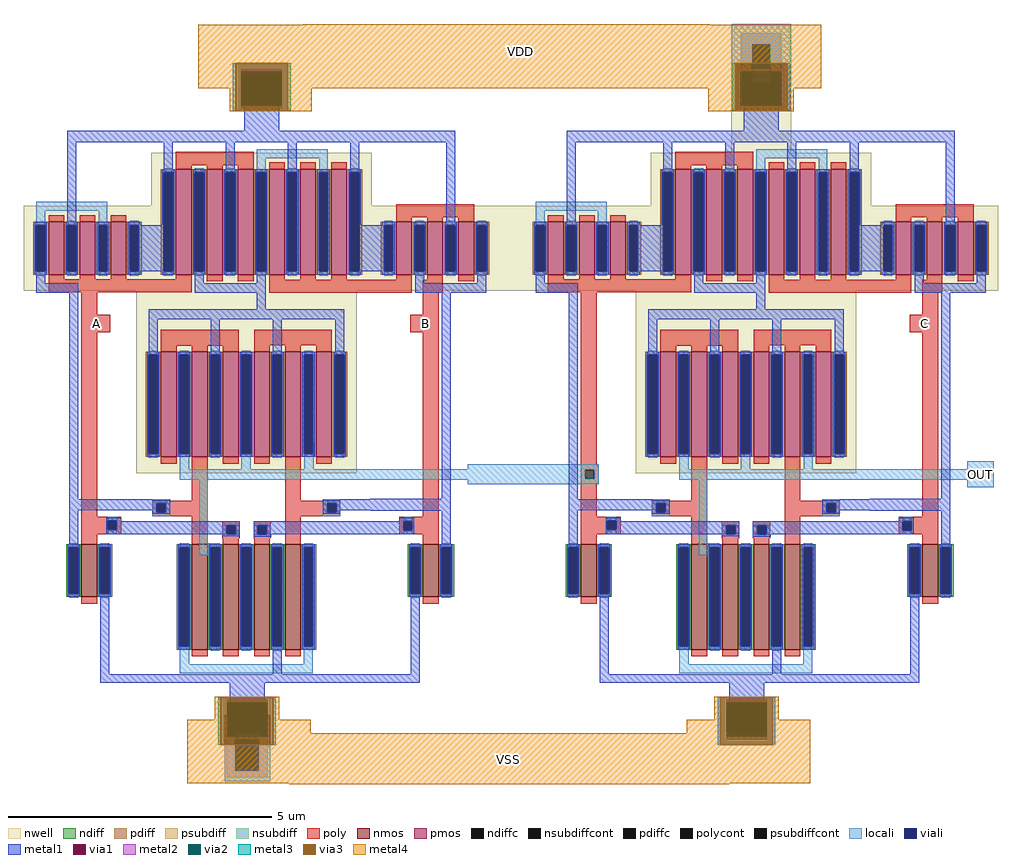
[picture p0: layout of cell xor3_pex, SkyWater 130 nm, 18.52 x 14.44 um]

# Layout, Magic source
magic
tech sky130B
magscale 1 2
<< nwell >>
rect 2563 677 2791 1167
rect 359 477 1197 677
rect 2257 477 3095 677
rect -125 153 3578 477
rect 302 -540 1140 153
rect 2200 -540 3038 153
<< nmos >>
rect 94 -1010 154 -810
rect 514 -1210 574 -810
rect 632 -1210 692 -810
rect 750 -1210 810 -810
rect 868 -1210 928 -810
rect 1392 -1010 1452 -810
rect 1992 -1010 2052 -810
rect 2412 -1210 2472 -810
rect 2530 -1210 2590 -810
rect 2648 -1210 2708 -810
rect 2766 -1210 2826 -810
rect 3290 -1010 3350 -810
<< pmos >>
rect -31 215 29 415
rect 87 215 147 415
rect 205 215 265 415
rect 453 215 513 615
rect 571 215 631 615
rect 689 215 749 615
rect 807 215 867 615
rect 925 215 985 615
rect 1043 215 1103 615
rect 1290 215 1350 415
rect 1408 215 1468 415
rect 1526 215 1586 415
rect 1867 215 1927 415
rect 1985 215 2045 415
rect 2103 215 2163 415
rect 2351 215 2411 615
rect 2469 215 2529 615
rect 2587 215 2647 615
rect 2705 215 2765 615
rect 2823 215 2883 615
rect 2941 215 3001 615
rect 3188 215 3248 415
rect 3306 215 3366 415
rect 3424 215 3484 415
rect 396 -478 456 -78
rect 514 -478 574 -78
rect 632 -478 692 -78
rect 750 -478 810 -78
rect 868 -478 928 -78
rect 986 -478 1046 -78
rect 2294 -478 2354 -78
rect 2412 -478 2472 -78
rect 2530 -478 2590 -78
rect 2648 -478 2708 -78
rect 2766 -478 2826 -78
rect 2884 -478 2944 -78
<< ndiff >>
rect 36 -822 94 -810
rect 36 -998 48 -822
rect 82 -998 94 -822
rect 36 -1010 94 -998
rect 154 -822 212 -810
rect 154 -998 166 -822
rect 200 -998 212 -822
rect 154 -1010 212 -998
rect 456 -822 514 -810
rect 456 -1198 468 -822
rect 502 -1198 514 -822
rect 456 -1210 514 -1198
rect 574 -822 632 -810
rect 574 -1198 586 -822
rect 620 -1198 632 -822
rect 574 -1210 632 -1198
rect 692 -822 750 -810
rect 692 -1198 704 -822
rect 738 -1198 750 -822
rect 692 -1210 750 -1198
rect 810 -822 868 -810
rect 810 -1198 822 -822
rect 856 -1198 868 -822
rect 810 -1210 868 -1198
rect 928 -822 986 -810
rect 928 -1198 940 -822
rect 974 -1198 986 -822
rect 1334 -822 1392 -810
rect 1334 -998 1346 -822
rect 1380 -998 1392 -822
rect 1334 -1010 1392 -998
rect 1452 -822 1510 -810
rect 1452 -998 1464 -822
rect 1498 -998 1510 -822
rect 1452 -1010 1510 -998
rect 1934 -822 1992 -810
rect 1934 -998 1946 -822
rect 1980 -998 1992 -822
rect 1934 -1010 1992 -998
rect 2052 -822 2110 -810
rect 2052 -998 2064 -822
rect 2098 -998 2110 -822
rect 2052 -1010 2110 -998
rect 2354 -822 2412 -810
rect 928 -1210 986 -1198
rect 2354 -1198 2366 -822
rect 2400 -1198 2412 -822
rect 2354 -1210 2412 -1198
rect 2472 -822 2530 -810
rect 2472 -1198 2484 -822
rect 2518 -1198 2530 -822
rect 2472 -1210 2530 -1198
rect 2590 -822 2648 -810
rect 2590 -1198 2602 -822
rect 2636 -1198 2648 -822
rect 2590 -1210 2648 -1198
rect 2708 -822 2766 -810
rect 2708 -1198 2720 -822
rect 2754 -1198 2766 -822
rect 2708 -1210 2766 -1198
rect 2826 -822 2884 -810
rect 2826 -1198 2838 -822
rect 2872 -1198 2884 -822
rect 3232 -822 3290 -810
rect 3232 -998 3244 -822
rect 3278 -998 3290 -822
rect 3232 -1010 3290 -998
rect 3350 -822 3408 -810
rect 3350 -998 3362 -822
rect 3396 -998 3408 -822
rect 3350 -1010 3408 -998
rect 2826 -1210 2884 -1198
<< pdiff >>
rect 395 603 453 615
rect -89 403 -31 415
rect -89 227 -77 403
rect -43 227 -31 403
rect -89 215 -31 227
rect 29 403 87 415
rect 29 227 41 403
rect 75 227 87 403
rect 29 215 87 227
rect 147 403 205 415
rect 147 227 159 403
rect 193 227 205 403
rect 147 215 205 227
rect 265 403 323 415
rect 265 227 277 403
rect 311 227 323 403
rect 265 215 323 227
rect 395 227 407 603
rect 441 227 453 603
rect 395 215 453 227
rect 513 603 571 615
rect 513 227 525 603
rect 559 227 571 603
rect 513 215 571 227
rect 631 603 689 615
rect 631 227 643 603
rect 677 227 689 603
rect 631 215 689 227
rect 749 603 807 615
rect 749 227 761 603
rect 795 227 807 603
rect 749 215 807 227
rect 867 603 925 615
rect 867 227 879 603
rect 913 227 925 603
rect 867 215 925 227
rect 985 603 1043 615
rect 985 227 997 603
rect 1031 227 1043 603
rect 985 215 1043 227
rect 1103 603 1161 615
rect 1103 227 1115 603
rect 1149 227 1161 603
rect 2293 603 2351 615
rect 1103 215 1161 227
rect 1232 403 1290 415
rect 1232 227 1244 403
rect 1278 227 1290 403
rect 1232 215 1290 227
rect 1350 403 1408 415
rect 1350 227 1362 403
rect 1396 227 1408 403
rect 1350 215 1408 227
rect 1468 403 1526 415
rect 1468 227 1480 403
rect 1514 227 1526 403
rect 1468 215 1526 227
rect 1586 403 1644 415
rect 1586 227 1598 403
rect 1632 227 1644 403
rect 1586 215 1644 227
rect 1809 403 1867 415
rect 1809 227 1821 403
rect 1855 227 1867 403
rect 1809 215 1867 227
rect 1927 403 1985 415
rect 1927 227 1939 403
rect 1973 227 1985 403
rect 1927 215 1985 227
rect 2045 403 2103 415
rect 2045 227 2057 403
rect 2091 227 2103 403
rect 2045 215 2103 227
rect 2163 403 2221 415
rect 2163 227 2175 403
rect 2209 227 2221 403
rect 2163 215 2221 227
rect 2293 227 2305 603
rect 2339 227 2351 603
rect 2293 215 2351 227
rect 2411 603 2469 615
rect 2411 227 2423 603
rect 2457 227 2469 603
rect 2411 215 2469 227
rect 2529 603 2587 615
rect 2529 227 2541 603
rect 2575 227 2587 603
rect 2529 215 2587 227
rect 2647 603 2705 615
rect 2647 227 2659 603
rect 2693 227 2705 603
rect 2647 215 2705 227
rect 2765 603 2823 615
rect 2765 227 2777 603
rect 2811 227 2823 603
rect 2765 215 2823 227
rect 2883 603 2941 615
rect 2883 227 2895 603
rect 2929 227 2941 603
rect 2883 215 2941 227
rect 3001 603 3059 615
rect 3001 227 3013 603
rect 3047 227 3059 603
rect 3001 215 3059 227
rect 3130 403 3188 415
rect 3130 227 3142 403
rect 3176 227 3188 403
rect 3130 215 3188 227
rect 3248 403 3306 415
rect 3248 227 3260 403
rect 3294 227 3306 403
rect 3248 215 3306 227
rect 3366 403 3424 415
rect 3366 227 3378 403
rect 3412 227 3424 403
rect 3366 215 3424 227
rect 3484 403 3542 415
rect 3484 227 3496 403
rect 3530 227 3542 403
rect 3484 215 3542 227
rect 338 -90 396 -78
rect 338 -466 350 -90
rect 384 -466 396 -90
rect 338 -478 396 -466
rect 456 -90 514 -78
rect 456 -466 468 -90
rect 502 -466 514 -90
rect 456 -478 514 -466
rect 574 -90 632 -78
rect 574 -466 586 -90
rect 620 -466 632 -90
rect 574 -478 632 -466
rect 692 -90 750 -78
rect 692 -466 704 -90
rect 738 -466 750 -90
rect 692 -478 750 -466
rect 810 -90 868 -78
rect 810 -466 822 -90
rect 856 -466 868 -90
rect 810 -478 868 -466
rect 928 -90 986 -78
rect 928 -466 940 -90
rect 974 -466 986 -90
rect 928 -478 986 -466
rect 1046 -90 1104 -78
rect 1046 -466 1058 -90
rect 1092 -466 1104 -90
rect 1046 -478 1104 -466
rect 2236 -90 2294 -78
rect 2236 -466 2248 -90
rect 2282 -466 2294 -90
rect 2236 -478 2294 -466
rect 2354 -90 2412 -78
rect 2354 -466 2366 -90
rect 2400 -466 2412 -90
rect 2354 -478 2412 -466
rect 2472 -90 2530 -78
rect 2472 -466 2484 -90
rect 2518 -466 2530 -90
rect 2472 -478 2530 -466
rect 2590 -90 2648 -78
rect 2590 -466 2602 -90
rect 2636 -466 2648 -90
rect 2590 -478 2648 -466
rect 2708 -90 2766 -78
rect 2708 -466 2720 -90
rect 2754 -466 2766 -90
rect 2708 -478 2766 -466
rect 2826 -90 2884 -78
rect 2826 -466 2838 -90
rect 2872 -466 2884 -90
rect 2826 -478 2884 -466
rect 2944 -90 3002 -78
rect 2944 -466 2956 -90
rect 2990 -466 3002 -90
rect 2944 -478 3002 -466
<< ndiffc >>
rect 48 -998 82 -822
rect 166 -998 200 -822
rect 468 -1198 502 -822
rect 586 -1198 620 -822
rect 704 -1198 738 -822
rect 822 -1198 856 -822
rect 940 -1198 974 -822
rect 1346 -998 1380 -822
rect 1464 -998 1498 -822
rect 1946 -998 1980 -822
rect 2064 -998 2098 -822
rect 2366 -1198 2400 -822
rect 2484 -1198 2518 -822
rect 2602 -1198 2636 -822
rect 2720 -1198 2754 -822
rect 2838 -1198 2872 -822
rect 3244 -998 3278 -822
rect 3362 -998 3396 -822
<< pdiffc >>
rect -77 227 -43 403
rect 41 227 75 403
rect 159 227 193 403
rect 277 227 311 403
rect 407 227 441 603
rect 525 227 559 603
rect 643 227 677 603
rect 761 227 795 603
rect 879 227 913 603
rect 997 227 1031 603
rect 1115 227 1149 603
rect 1244 227 1278 403
rect 1362 227 1396 403
rect 1480 227 1514 403
rect 1598 227 1632 403
rect 1821 227 1855 403
rect 1939 227 1973 403
rect 2057 227 2091 403
rect 2175 227 2209 403
rect 2305 227 2339 603
rect 2423 227 2457 603
rect 2541 227 2575 603
rect 2659 227 2693 603
rect 2777 227 2811 603
rect 2895 227 2929 603
rect 3013 227 3047 603
rect 3142 227 3176 403
rect 3260 227 3294 403
rect 3378 227 3412 403
rect 3496 227 3530 403
rect 350 -466 384 -90
rect 468 -466 502 -90
rect 586 -466 620 -90
rect 704 -466 738 -90
rect 822 -466 856 -90
rect 940 -466 974 -90
rect 1058 -466 1092 -90
rect 2248 -466 2282 -90
rect 2366 -466 2400 -90
rect 2484 -466 2518 -90
rect 2602 -466 2636 -90
rect 2720 -466 2754 -90
rect 2838 -466 2872 -90
rect 2956 -466 2990 -90
<< psubdiff >>
rect 647 -1507 802 -1461
rect 647 -1670 678 -1507
rect 768 -1670 802 -1507
rect 647 -1695 802 -1670
<< nsubdiff >>
rect 2601 1091 2754 1131
rect 2601 942 2644 1091
rect 2711 942 2754 1091
rect 2601 873 2754 942
<< psubdiffcont >>
rect 678 -1670 768 -1507
<< nsubdiffcont >>
rect 2644 942 2711 1091
<< poly >>
rect 453 630 749 681
rect 453 615 513 630
rect 571 615 631 630
rect 689 615 749 630
rect 807 615 867 641
rect 925 615 985 641
rect 1043 615 1103 641
rect 2351 630 2647 681
rect 2351 615 2411 630
rect 2469 615 2529 630
rect 2587 615 2647 630
rect 2705 615 2765 641
rect 2823 615 2883 641
rect 2941 615 3001 641
rect -31 415 29 441
rect 87 415 147 441
rect 205 415 265 441
rect 1290 432 1586 483
rect 1290 415 1350 432
rect 1408 415 1468 432
rect 1526 415 1586 432
rect 1867 415 1927 441
rect 1985 415 2045 441
rect 2103 415 2163 441
rect 3188 432 3484 483
rect 3188 415 3248 432
rect 3306 415 3366 432
rect 3424 415 3484 432
rect -31 198 29 215
rect 87 198 147 215
rect 205 198 265 215
rect 453 198 513 215
rect -31 147 513 198
rect 571 189 631 215
rect 689 189 749 215
rect 807 196 867 215
rect 925 196 985 215
rect 1043 196 1103 215
rect 1290 196 1350 215
rect 1408 196 1468 215
rect 94 63 154 147
rect 807 145 1350 196
rect 1392 189 1468 196
rect 1526 189 1586 215
rect 1867 198 1927 215
rect 1985 198 2045 215
rect 2103 198 2163 215
rect 2351 198 2411 215
rect 1392 145 1467 189
rect 1867 147 2411 198
rect 2469 189 2529 215
rect 2587 189 2647 215
rect 2705 196 2765 215
rect 2823 196 2883 215
rect 2941 196 3001 215
rect 3188 196 3248 215
rect 3306 196 3366 215
rect 1392 63 1452 145
rect 94 -5 203 63
rect 94 -705 154 -5
rect 396 -55 692 5
rect 396 -78 456 -55
rect 514 -78 574 -55
rect 632 -78 692 -55
rect 750 -54 1046 6
rect 1343 -5 1452 63
rect 750 -78 810 -54
rect 868 -78 928 -54
rect 986 -78 1046 -54
rect 396 -504 456 -478
rect 364 -645 431 -638
rect 514 -645 574 -478
rect 632 -504 692 -478
rect 750 -504 810 -478
rect 364 -654 574 -645
rect 364 -688 380 -654
rect 414 -688 574 -654
rect 364 -704 574 -688
rect 94 -721 245 -705
rect 94 -755 195 -721
rect 229 -755 245 -721
rect 94 -771 245 -755
rect 94 -810 154 -771
rect 514 -810 574 -704
rect 868 -645 928 -478
rect 986 -504 1046 -478
rect 1011 -645 1078 -638
rect 868 -654 1078 -645
rect 868 -688 1028 -654
rect 1062 -688 1078 -654
rect 868 -704 1078 -688
rect 630 -738 696 -722
rect 630 -772 646 -738
rect 680 -772 696 -738
rect 630 -788 696 -772
rect 748 -737 814 -722
rect 748 -771 764 -737
rect 798 -771 814 -737
rect 748 -787 814 -771
rect 632 -810 692 -788
rect 750 -810 810 -787
rect 868 -810 928 -704
rect 1392 -706 1452 -5
rect 1302 -722 1452 -706
rect 1302 -756 1318 -722
rect 1352 -756 1452 -722
rect 1302 -772 1452 -756
rect 1392 -810 1452 -772
rect 1992 -511 2052 147
rect 2705 145 3248 196
rect 3290 189 3366 196
rect 3424 189 3484 215
rect 3290 145 3365 189
rect 3290 63 3350 145
rect 2294 -55 2590 5
rect 2294 -78 2354 -55
rect 2412 -78 2472 -55
rect 2530 -78 2590 -55
rect 2648 -54 2944 6
rect 3241 -5 3350 63
rect 2648 -78 2708 -54
rect 2766 -78 2826 -54
rect 2884 -78 2944 -54
rect 2294 -504 2354 -478
rect 1992 -527 2059 -511
rect 1992 -561 2008 -527
rect 2042 -561 2059 -527
rect 1992 -577 2059 -561
rect 1992 -705 2052 -577
rect 2262 -645 2329 -638
rect 2412 -645 2472 -478
rect 2530 -504 2590 -478
rect 2648 -504 2708 -478
rect 2262 -654 2472 -645
rect 2262 -688 2278 -654
rect 2312 -688 2472 -654
rect 2262 -704 2472 -688
rect 1992 -721 2143 -705
rect 1992 -755 2093 -721
rect 2127 -755 2143 -721
rect 1992 -771 2143 -755
rect 1992 -810 2052 -771
rect 2412 -810 2472 -704
rect 2766 -645 2826 -478
rect 2884 -504 2944 -478
rect 2909 -645 2976 -638
rect 2766 -654 2976 -645
rect 2766 -688 2926 -654
rect 2960 -688 2976 -654
rect 2766 -704 2976 -688
rect 2528 -738 2594 -722
rect 2528 -772 2544 -738
rect 2578 -772 2594 -738
rect 2528 -788 2594 -772
rect 2646 -737 2712 -722
rect 2646 -771 2662 -737
rect 2696 -771 2712 -737
rect 2646 -787 2712 -771
rect 2530 -810 2590 -788
rect 2648 -810 2708 -787
rect 2766 -810 2826 -704
rect 3290 -706 3350 -5
rect 3200 -722 3350 -706
rect 3200 -756 3216 -722
rect 3250 -756 3350 -722
rect 3200 -772 3350 -756
rect 3290 -810 3350 -772
rect 94 -1036 154 -1010
rect 1392 -1036 1452 -1010
rect 1992 -1036 2052 -1010
rect 3290 -1036 3350 -1010
rect 514 -1236 574 -1210
rect 632 -1236 692 -1210
rect 750 -1236 810 -1210
rect 868 -1236 928 -1210
rect 2412 -1236 2472 -1210
rect 2530 -1236 2590 -1210
rect 2648 -1236 2708 -1210
rect 2766 -1236 2826 -1210
<< polycont >>
rect 380 -688 414 -654
rect 195 -755 229 -721
rect 1028 -688 1062 -654
rect 646 -772 680 -738
rect 764 -771 798 -737
rect 1318 -756 1352 -722
rect 2008 -561 2042 -527
rect 2278 -688 2312 -654
rect 2093 -755 2127 -721
rect 2926 -688 2960 -654
rect 2544 -772 2578 -738
rect 2662 -771 2696 -737
rect 3216 -756 3250 -722
<< locali >>
rect 2565 1091 2790 1167
rect 2565 942 2644 1091
rect 2711 942 2790 1091
rect 2565 836 2790 942
rect 761 656 1031 691
rect 407 603 441 619
rect -77 457 193 492
rect -77 403 -43 457
rect -77 211 -43 227
rect 41 403 75 419
rect 41 211 75 227
rect 159 403 193 457
rect 159 211 193 227
rect 277 403 311 419
rect 277 211 311 227
rect 407 211 441 227
rect 525 603 559 619
rect 525 211 559 227
rect 643 603 677 619
rect 643 211 677 227
rect 761 603 795 656
rect 761 211 795 227
rect 879 603 913 619
rect 879 211 913 227
rect 997 603 1031 656
rect 2659 656 2929 691
rect 997 211 1031 227
rect 1115 603 1149 619
rect 2305 603 2339 619
rect 1821 457 2091 492
rect 1115 211 1149 227
rect 1244 403 1278 419
rect 1244 211 1278 227
rect 1362 403 1396 419
rect 1362 211 1396 227
rect 1480 403 1514 419
rect 1480 211 1514 227
rect 1598 403 1632 419
rect 1598 211 1632 227
rect 1821 403 1855 457
rect 1821 211 1855 227
rect 1939 403 1973 419
rect 1939 211 1973 227
rect 2057 403 2091 457
rect 2057 211 2091 227
rect 2175 403 2209 419
rect 2175 211 2209 227
rect 2305 211 2339 227
rect 2423 603 2457 619
rect 2423 211 2457 227
rect 2541 603 2575 619
rect 2541 211 2575 227
rect 2659 603 2693 656
rect 2659 211 2693 227
rect 2777 603 2811 619
rect 2777 211 2811 227
rect 2895 603 2929 656
rect 2895 211 2929 227
rect 3013 603 3047 619
rect 3013 211 3047 227
rect 3142 403 3176 419
rect 3142 211 3176 227
rect 3260 403 3294 419
rect 3260 211 3294 227
rect 3378 403 3412 419
rect 3378 211 3412 227
rect 3496 403 3530 419
rect 3496 211 3530 227
rect 350 -90 384 -74
rect 468 -90 502 -74
rect 350 -482 384 -466
rect 467 -466 468 -419
rect 586 -90 620 -74
rect 502 -466 503 -419
rect 467 -524 503 -466
rect 704 -90 738 -74
rect 586 -482 620 -466
rect 702 -466 704 -419
rect 702 -524 738 -466
rect 822 -90 856 -74
rect 822 -482 856 -466
rect 940 -90 974 -74
rect 1058 -90 1092 -74
rect 974 -466 976 -420
rect 940 -524 976 -466
rect 1058 -482 1092 -466
rect 2248 -90 2282 -74
rect 2366 -90 2400 -74
rect 2248 -482 2282 -466
rect 2365 -466 2366 -419
rect 2484 -90 2518 -74
rect 2400 -466 2401 -419
rect 1563 -524 2060 -506
rect 467 -527 2060 -524
rect 467 -561 2008 -527
rect 2042 -561 2060 -527
rect 467 -564 2060 -561
rect 2365 -524 2401 -466
rect 2602 -90 2636 -74
rect 2484 -482 2518 -466
rect 2600 -466 2602 -419
rect 2600 -524 2636 -466
rect 2720 -90 2754 -74
rect 2720 -482 2754 -466
rect 2838 -90 2872 -74
rect 2956 -90 2990 -74
rect 2872 -466 2874 -420
rect 2838 -524 2874 -466
rect 2956 -482 2990 -466
rect 3461 -524 3561 -494
rect 2365 -564 3561 -524
rect 486 -565 2060 -564
rect 2384 -565 3561 -564
rect 364 -654 431 -638
rect 364 -688 380 -654
rect 414 -688 431 -654
rect 364 -704 431 -688
rect 195 -721 229 -705
rect 195 -771 229 -755
rect 541 -806 575 -565
rect 1563 -582 2060 -565
rect 1011 -654 1078 -638
rect 1011 -688 1028 -654
rect 1062 -688 1078 -654
rect 1011 -704 1078 -688
rect 2262 -654 2329 -638
rect 2262 -688 2278 -654
rect 2312 -688 2329 -654
rect 2262 -704 2329 -688
rect 1318 -722 1352 -706
rect 630 -772 646 -738
rect 680 -772 696 -738
rect 748 -771 764 -737
rect 798 -771 814 -737
rect 1318 -772 1352 -756
rect 2093 -721 2127 -705
rect 2093 -771 2127 -755
rect 2439 -806 2473 -565
rect 3461 -594 3561 -565
rect 2909 -654 2976 -638
rect 2909 -688 2926 -654
rect 2960 -688 2976 -654
rect 2909 -704 2976 -688
rect 3216 -722 3250 -706
rect 2528 -772 2544 -738
rect 2578 -772 2594 -738
rect 2646 -771 2662 -737
rect 2696 -771 2712 -737
rect 3216 -772 3250 -756
rect 48 -822 82 -806
rect 48 -1014 82 -998
rect 166 -822 200 -806
rect 166 -1014 200 -998
rect 468 -822 502 -806
rect 541 -822 620 -806
rect 541 -852 586 -822
rect 468 -1265 503 -1198
rect 586 -1214 620 -1198
rect 704 -822 738 -806
rect 704 -1214 738 -1198
rect 822 -822 856 -806
rect 940 -822 974 -806
rect 1346 -822 1380 -806
rect 1346 -1014 1380 -998
rect 1464 -822 1498 -806
rect 1464 -1014 1498 -998
rect 1946 -822 1980 -806
rect 1946 -1014 1980 -998
rect 2064 -822 2098 -806
rect 2064 -1014 2098 -998
rect 2366 -822 2400 -806
rect 822 -1214 856 -1198
rect 939 -1265 974 -1198
rect 468 -1300 974 -1265
rect 2439 -822 2518 -806
rect 2439 -852 2484 -822
rect 2366 -1265 2401 -1198
rect 2484 -1214 2518 -1198
rect 2602 -822 2636 -806
rect 2602 -1214 2636 -1198
rect 2720 -822 2754 -806
rect 2838 -822 2872 -806
rect 3244 -822 3278 -806
rect 3244 -1014 3278 -998
rect 3362 -822 3396 -806
rect 3362 -1014 3396 -998
rect 2720 -1214 2754 -1198
rect 2837 -1265 2872 -1198
rect 2366 -1300 2872 -1265
rect 639 -1507 811 -1460
rect 639 -1670 678 -1507
rect 768 -1670 811 -1507
rect 639 -1710 811 -1670
<< viali >>
rect -77 227 -43 403
rect 41 227 75 403
rect 159 227 193 403
rect 277 227 311 403
rect 407 227 441 603
rect 525 227 559 603
rect 643 227 677 603
rect 761 227 795 603
rect 879 227 913 603
rect 997 227 1031 603
rect 1115 227 1149 603
rect 1244 227 1278 403
rect 1362 227 1396 403
rect 1480 227 1514 403
rect 1598 227 1632 403
rect 1821 227 1855 403
rect 1939 227 1973 403
rect 2057 227 2091 403
rect 2175 227 2209 403
rect 2305 227 2339 603
rect 2423 227 2457 603
rect 2541 227 2575 603
rect 2659 227 2693 603
rect 2777 227 2811 603
rect 2895 227 2929 603
rect 3013 227 3047 603
rect 3142 227 3176 403
rect 3260 227 3294 403
rect 3378 227 3412 403
rect 3496 227 3530 403
rect 350 -466 384 -90
rect 468 -466 502 -90
rect 586 -466 620 -90
rect 704 -466 738 -90
rect 822 -466 856 -90
rect 940 -466 974 -90
rect 1058 -466 1092 -90
rect 2248 -466 2282 -90
rect 2366 -466 2400 -90
rect 2484 -466 2518 -90
rect 2602 -466 2636 -90
rect 2720 -466 2754 -90
rect 2838 -466 2872 -90
rect 2956 -466 2990 -90
rect 380 -688 414 -654
rect 195 -755 229 -721
rect 1028 -688 1062 -654
rect 2278 -688 2312 -654
rect 646 -772 680 -738
rect 764 -771 798 -737
rect 1318 -756 1352 -722
rect 2093 -755 2127 -721
rect 2926 -688 2960 -654
rect 2544 -772 2578 -738
rect 2662 -771 2696 -737
rect 3216 -756 3250 -722
rect 48 -998 82 -822
rect 166 -998 200 -822
rect 468 -1198 502 -822
rect 586 -1198 620 -822
rect 704 -1198 738 -822
rect 822 -1198 856 -822
rect 940 -1198 974 -822
rect 1346 -998 1380 -822
rect 1464 -998 1498 -822
rect 1946 -998 1980 -822
rect 2064 -998 2098 -822
rect 2366 -1198 2400 -822
rect 2484 -1198 2518 -822
rect 2602 -1198 2636 -822
rect 2720 -1198 2754 -822
rect 2838 -1198 2872 -822
rect 3244 -998 3278 -822
rect 3362 -998 3396 -822
<< metal1 >>
rect 703 867 713 975
rect 845 867 855 975
rect 2601 867 2611 975
rect 2743 867 2753 975
rect 713 827 845 867
rect 2611 827 2743 867
rect 712 761 845 827
rect 2610 761 2743 827
rect 41 718 1514 761
rect 41 415 75 718
rect 407 615 441 718
rect 643 615 677 718
rect 879 615 913 718
rect 1115 615 1149 718
rect 401 603 447 615
rect -83 403 -37 415
rect -83 227 -77 403
rect -43 227 -37 403
rect -83 215 -37 227
rect 35 403 81 415
rect 35 227 41 403
rect 75 227 81 403
rect 35 215 81 227
rect 153 403 199 415
rect 153 227 159 403
rect 193 227 199 403
rect 153 215 199 227
rect 271 403 317 415
rect 401 403 407 603
rect 271 227 277 403
rect 311 227 407 403
rect 441 227 447 603
rect 271 215 317 227
rect 401 215 447 227
rect 519 603 565 615
rect 519 227 525 603
rect 559 227 565 603
rect 519 215 565 227
rect 637 603 683 615
rect 637 227 643 603
rect 677 227 683 603
rect 637 215 683 227
rect 755 603 801 615
rect 755 227 761 603
rect 795 227 801 603
rect 755 215 801 227
rect 873 603 919 615
rect 873 227 879 603
rect 913 227 919 603
rect 873 215 919 227
rect 991 603 1037 615
rect 991 227 997 603
rect 1031 227 1037 603
rect 991 215 1037 227
rect 1109 603 1155 615
rect 1109 227 1115 603
rect 1149 403 1155 603
rect 1480 415 1514 718
rect 1939 718 3412 761
rect 1939 415 1973 718
rect 2305 615 2339 718
rect 2541 615 2575 718
rect 2777 615 2811 718
rect 3013 615 3047 718
rect 2299 603 2345 615
rect 1238 403 1284 415
rect 1149 227 1244 403
rect 1278 227 1284 403
rect 1109 215 1155 227
rect 1238 215 1284 227
rect 1356 403 1402 415
rect 1356 227 1362 403
rect 1396 227 1402 403
rect 1356 215 1402 227
rect 1474 403 1520 415
rect 1474 227 1480 403
rect 1514 227 1520 403
rect 1474 215 1520 227
rect 1592 403 1638 415
rect 1592 227 1598 403
rect 1632 227 1638 403
rect 1592 215 1638 227
rect 1815 403 1861 415
rect 1815 227 1821 403
rect 1855 227 1861 403
rect 1815 215 1861 227
rect 1933 403 1979 415
rect 1933 227 1939 403
rect 1973 227 1979 403
rect 1933 215 1979 227
rect 2051 403 2097 415
rect 2051 227 2057 403
rect 2091 227 2097 403
rect 2051 215 2097 227
rect 2169 403 2215 415
rect 2299 403 2305 603
rect 2169 227 2175 403
rect 2209 227 2305 403
rect 2339 227 2345 603
rect 2169 215 2215 227
rect 2299 215 2345 227
rect 2417 603 2463 615
rect 2417 227 2423 603
rect 2457 227 2463 603
rect 2417 215 2463 227
rect 2535 603 2581 615
rect 2535 227 2541 603
rect 2575 227 2581 603
rect 2535 215 2581 227
rect 2653 603 2699 615
rect 2653 227 2659 603
rect 2693 227 2699 603
rect 2653 215 2699 227
rect 2771 603 2817 615
rect 2771 227 2777 603
rect 2811 227 2817 603
rect 2771 215 2817 227
rect 2889 603 2935 615
rect 2889 227 2895 603
rect 2929 227 2935 603
rect 2889 215 2935 227
rect 3007 603 3053 615
rect 3007 227 3013 603
rect 3047 403 3053 603
rect 3378 415 3412 718
rect 3136 403 3182 415
rect 3047 227 3142 403
rect 3176 227 3182 403
rect 3007 215 3053 227
rect 3136 215 3182 227
rect 3254 403 3300 415
rect 3254 227 3260 403
rect 3294 227 3300 403
rect 3254 215 3300 227
rect 3372 403 3418 415
rect 3372 227 3378 403
rect 3412 227 3418 403
rect 3372 215 3418 227
rect 3490 403 3536 415
rect 3490 227 3496 403
rect 3530 227 3536 403
rect 3490 215 3536 227
rect -77 181 -43 215
rect 525 181 559 215
rect 761 181 795 215
rect -77 146 82 181
rect 525 146 795 181
rect 1362 181 1396 215
rect 1598 181 1632 215
rect 1362 146 1632 181
rect 1821 181 1855 215
rect 2423 181 2457 215
rect 2659 181 2693 215
rect 1821 146 1980 181
rect 2423 146 2693 181
rect 3260 181 3294 215
rect 3496 181 3530 215
rect 3260 146 3530 181
rect 48 -638 82 146
rect 761 84 795 146
rect 350 46 1092 84
rect 350 -78 384 46
rect 586 -78 620 46
rect 822 -78 856 46
rect 1058 -78 1092 46
rect 344 -90 390 -78
rect 344 -466 350 -90
rect 384 -466 390 -90
rect 344 -478 390 -466
rect 462 -90 508 -78
rect 462 -466 468 -90
rect 502 -466 508 -90
rect 462 -478 508 -466
rect 580 -90 626 -78
rect 580 -466 586 -90
rect 620 -466 626 -90
rect 580 -478 626 -466
rect 698 -90 744 -78
rect 698 -466 704 -90
rect 738 -466 744 -90
rect 698 -478 744 -466
rect 816 -90 862 -78
rect 816 -466 822 -90
rect 856 -466 862 -90
rect 816 -478 862 -466
rect 934 -90 980 -78
rect 934 -466 940 -90
rect 974 -466 980 -90
rect 934 -478 980 -466
rect 1052 -90 1098 -78
rect 1052 -466 1058 -90
rect 1092 -466 1098 -90
rect 1052 -478 1098 -466
rect 1464 -637 1498 146
rect 1191 -638 1498 -637
rect 48 -643 364 -638
rect 1078 -643 1498 -638
rect 48 -654 431 -643
rect 48 -681 380 -654
rect 48 -810 82 -681
rect 364 -688 380 -681
rect 414 -688 431 -654
rect 364 -694 431 -688
rect 1011 -654 1498 -643
rect 1011 -688 1028 -654
rect 1062 -681 1498 -654
rect 1062 -688 1078 -681
rect 1191 -682 1498 -681
rect 1011 -694 1078 -688
rect 189 -721 245 -709
rect 189 -755 195 -721
rect 229 -722 245 -721
rect 1302 -722 1358 -710
rect 229 -738 696 -722
rect 229 -755 646 -738
rect 189 -771 646 -755
rect 630 -772 646 -771
rect 680 -772 696 -738
rect 630 -779 696 -772
rect 748 -737 1318 -722
rect 748 -771 764 -737
rect 798 -756 1318 -737
rect 1352 -756 1358 -722
rect 798 -771 1358 -756
rect 748 -781 815 -771
rect 1302 -772 1358 -771
rect 1464 -810 1498 -682
rect 1946 -638 1980 146
rect 2659 84 2693 146
rect 2248 46 2990 84
rect 2248 -78 2282 46
rect 2484 -78 2518 46
rect 2720 -78 2754 46
rect 2956 -78 2990 46
rect 2242 -90 2288 -78
rect 2242 -466 2248 -90
rect 2282 -466 2288 -90
rect 2242 -478 2288 -466
rect 2360 -90 2406 -78
rect 2360 -466 2366 -90
rect 2400 -466 2406 -90
rect 2360 -478 2406 -466
rect 2478 -90 2524 -78
rect 2478 -466 2484 -90
rect 2518 -466 2524 -90
rect 2478 -478 2524 -466
rect 2596 -90 2642 -78
rect 2596 -466 2602 -90
rect 2636 -466 2642 -90
rect 2596 -478 2642 -466
rect 2714 -90 2760 -78
rect 2714 -466 2720 -90
rect 2754 -466 2760 -90
rect 2714 -478 2760 -466
rect 2832 -90 2878 -78
rect 2832 -466 2838 -90
rect 2872 -466 2878 -90
rect 2832 -478 2878 -466
rect 2950 -90 2996 -78
rect 2950 -466 2956 -90
rect 2990 -466 2996 -90
rect 2950 -478 2996 -466
rect 3362 -637 3396 146
rect 3089 -638 3396 -637
rect 1946 -643 2262 -638
rect 2976 -643 3396 -638
rect 1946 -654 2329 -643
rect 1946 -681 2278 -654
rect 1946 -810 1980 -681
rect 2262 -688 2278 -681
rect 2312 -688 2329 -654
rect 2262 -694 2329 -688
rect 2909 -654 3396 -643
rect 2909 -688 2926 -654
rect 2960 -681 3396 -654
rect 2960 -688 2976 -681
rect 3089 -682 3396 -681
rect 2909 -694 2976 -688
rect 2087 -721 2143 -709
rect 2087 -755 2093 -721
rect 2127 -722 2143 -721
rect 3200 -722 3256 -710
rect 2127 -738 2594 -722
rect 2127 -755 2544 -738
rect 2087 -771 2544 -755
rect 2528 -772 2544 -771
rect 2578 -772 2594 -738
rect 2528 -779 2594 -772
rect 2646 -737 3216 -722
rect 2646 -771 2662 -737
rect 2696 -756 3216 -737
rect 3250 -756 3256 -722
rect 2696 -771 3256 -756
rect 2646 -781 2713 -771
rect 3200 -772 3256 -771
rect 3362 -810 3396 -682
rect 42 -822 88 -810
rect 42 -998 48 -822
rect 82 -998 88 -822
rect 42 -1010 88 -998
rect 160 -822 206 -810
rect 160 -998 166 -822
rect 200 -998 206 -822
rect 160 -1010 206 -998
rect 462 -822 508 -810
rect 165 -1304 199 -1010
rect 462 -1198 468 -822
rect 502 -1198 508 -822
rect 462 -1210 508 -1198
rect 580 -822 626 -810
rect 580 -1198 586 -822
rect 620 -1198 626 -822
rect 580 -1210 626 -1198
rect 698 -822 744 -810
rect 698 -1198 704 -822
rect 738 -1198 744 -822
rect 698 -1210 744 -1198
rect 816 -822 862 -810
rect 816 -1198 822 -822
rect 856 -1198 862 -822
rect 816 -1210 862 -1198
rect 934 -822 980 -810
rect 934 -1198 940 -822
rect 974 -1198 980 -822
rect 1340 -822 1386 -810
rect 1340 -998 1346 -822
rect 1380 -998 1386 -822
rect 1340 -1010 1386 -998
rect 1458 -822 1504 -810
rect 1458 -998 1464 -822
rect 1498 -998 1504 -822
rect 1458 -1010 1504 -998
rect 1940 -822 1986 -810
rect 1940 -998 1946 -822
rect 1980 -998 1986 -822
rect 1940 -1010 1986 -998
rect 2058 -822 2104 -810
rect 2058 -998 2064 -822
rect 2098 -998 2104 -822
rect 2058 -1010 2104 -998
rect 2360 -822 2406 -810
rect 934 -1210 980 -1198
rect 822 -1304 856 -1210
rect 1346 -1304 1379 -1010
rect 165 -1336 1379 -1304
rect 2063 -1304 2097 -1010
rect 2360 -1198 2366 -822
rect 2400 -1198 2406 -822
rect 2360 -1210 2406 -1198
rect 2478 -822 2524 -810
rect 2478 -1198 2484 -822
rect 2518 -1198 2524 -822
rect 2478 -1210 2524 -1198
rect 2596 -822 2642 -810
rect 2596 -1198 2602 -822
rect 2636 -1198 2642 -822
rect 2596 -1210 2642 -1198
rect 2714 -822 2760 -810
rect 2714 -1198 2720 -822
rect 2754 -1198 2760 -822
rect 2714 -1210 2760 -1198
rect 2832 -822 2878 -810
rect 2832 -1198 2838 -822
rect 2872 -1198 2878 -822
rect 3238 -822 3284 -810
rect 3238 -998 3244 -822
rect 3278 -998 3284 -822
rect 3238 -1010 3284 -998
rect 3356 -822 3402 -810
rect 3356 -998 3362 -822
rect 3396 -998 3402 -822
rect 3356 -1010 3402 -998
rect 2832 -1210 2878 -1198
rect 2720 -1304 2754 -1210
rect 3244 -1304 3277 -1010
rect 2063 -1336 3277 -1304
rect 658 -1421 790 -1336
rect 2556 -1421 2688 -1336
rect 648 -1529 658 -1421
rect 790 -1529 800 -1421
rect 2546 -1529 2556 -1421
rect 2688 -1529 2698 -1421
<< via1 >>
rect 713 867 845 975
rect 2611 867 2743 975
rect 658 -1529 790 -1421
rect 2556 -1529 2688 -1421
<< metal2 >>
rect 702 986 855 996
rect 702 847 855 857
rect 2600 986 2753 996
rect 2600 847 2753 857
rect 648 -1411 801 -1401
rect 648 -1550 801 -1540
rect 2546 -1411 2699 -1401
rect 2546 -1550 2699 -1540
<< via2 >>
rect 702 975 855 986
rect 702 867 713 975
rect 713 867 845 975
rect 845 867 855 975
rect 702 857 855 867
rect 2600 975 2753 986
rect 2600 867 2611 975
rect 2611 867 2743 975
rect 2743 867 2753 975
rect 2600 857 2753 867
rect 648 -1421 801 -1411
rect 648 -1529 658 -1421
rect 658 -1529 790 -1421
rect 790 -1529 801 -1421
rect 648 -1540 801 -1529
rect 2546 -1421 2699 -1411
rect 2546 -1529 2556 -1421
rect 2556 -1529 2688 -1421
rect 2688 -1529 2699 -1421
rect 2546 -1540 2699 -1529
<< metal3 >>
rect 670 838 680 1017
rect 879 838 889 1017
rect 2568 838 2578 1017
rect 2777 838 2787 1017
rect 614 -1571 624 -1392
rect 823 -1571 833 -1392
rect 2512 -1571 2522 -1392
rect 2721 -1571 2731 -1392
<< via3 >>
rect 680 986 879 1017
rect 680 857 702 986
rect 702 857 855 986
rect 855 857 879 986
rect 680 838 879 857
rect 2578 986 2777 1017
rect 2578 857 2600 986
rect 2600 857 2753 986
rect 2753 857 2777 986
rect 2578 838 2777 857
rect 624 -1411 823 -1392
rect 624 -1540 648 -1411
rect 648 -1540 801 -1411
rect 801 -1540 823 -1411
rect 624 -1571 823 -1540
rect 2522 -1411 2721 -1392
rect 2522 -1540 2546 -1411
rect 2546 -1540 2699 -1411
rect 2699 -1540 2721 -1411
rect 2522 -1571 2721 -1540
<< metal4 >>
rect 935 1165 2481 1166
rect 538 1017 2905 1165
rect 538 923 680 1017
rect 658 838 680 923
rect 879 922 2578 1017
rect 879 838 969 922
rect 658 835 969 838
rect 2476 838 2578 922
rect 2777 923 2905 1017
rect 2777 838 2801 923
rect 2476 835 2801 838
rect 600 -1392 845 -1389
rect 600 -1477 624 -1392
rect 496 -1571 624 -1477
rect 823 -1477 845 -1392
rect 2498 -1392 2743 -1389
rect 2498 -1477 2522 -1392
rect 823 -1528 965 -1477
rect 2394 -1528 2522 -1477
rect 823 -1571 2522 -1528
rect 2721 -1477 2743 -1392
rect 2721 -1571 2863 -1477
rect 496 -1719 2863 -1571
rect 884 -1721 2555 -1719
<< labels >>
flabel poly 107 4 192 52 1 FreeSans 240 0 0 0 A
port 6 n
flabel poly 1358 5 1443 53 1 FreeSans 240 0 0 0 B
port 7 n
flabel metal4 1212 980 2315 1147 1 FreeSans 1040 0 0 0 VDD
port 10 n
flabel metal4 1166 -1713 2269 -1546 1 FreeSans 1040 0 0 0 VSS
port 9 n
flabel poly 3256 5 3341 53 1 FreeSans 240 0 0 0 C
port 11 n
flabel locali 3469 -586 3552 -502 1 FreeSans 320 0 0 0 OUT
port 12 n
<< end >>
